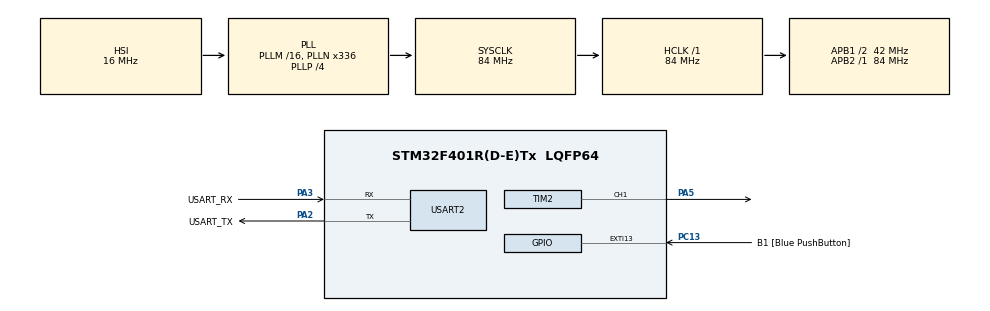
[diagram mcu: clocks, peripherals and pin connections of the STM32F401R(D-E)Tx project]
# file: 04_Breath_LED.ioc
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Mcu.Family=STM32F4
Mcu.Name=STM32F401R(D-E)Tx
Mcu.Package=LQFP64
NVIC.EXTI15_10_IRQn=true\:0\:0\:false\:false\:true\:true\:true\:true
NVIC.PriorityGroup=NVIC_PRIORITYGROUP_4
NVIC.USART2_IRQn=true\:0\:0\:false\:false\:true\:true\:true\:true
PA13.GPIO_Label=TMS
PA13.Mode=Trace_Asynchronous_SW
PA13.Signal=SYS_JTMS-SWDIO
PA14.GPIO_Label=TCK
PA14.Mode=Trace_Asynchronous_SW
PA14.Signal=SYS_JTCK-SWCLK
PA2.GPIO_Label=USART_TX
PA2.GPIO_Mode=GPIO_MODE_AF_PP
PA2.GPIO_PuPd=GPIO_NOPULL
PA2.GPIO_Speed=GPIO_SPEED_FREQ_LOW
PA2.Mode=Asynchronous
PA2.Signal=USART2_TX
PA3.GPIO_Label=USART_RX
PA3.GPIO_Mode=GPIO_MODE_AF_PP
PA3.GPIO_PuPd=GPIO_NOPULL
PA3.GPIO_Speed=GPIO_SPEED_FREQ_LOW
PA3.Mode=Asynchronous
PA3.Signal=USART2_RX
PA5.Signal=S_TIM2_CH1_ETR
PB3.GPIO_Label=SWO
PB3.Mode=Trace_Asynchronous_SW
PB3.Signal=SYS_JTDO-SWO
PC13-ANTI_TAMP.GPIO_Label=B1 [Blue PushButton]
PC13-ANTI_TAMP.GPIO_ModeDefaultEXTI=GPIO_MODE_IT_RISING_FALLING
PC13-ANTI_TAMP.GPIO_PuPd=GPIO_NOPULL
PC13-ANTI_TAMP.Signal=GPXTI13
PC14-OSC32_IN.Mode=LSE-External-Oscillator
PC14-OSC32_IN.Signal=RCC_OSC32_IN
PC15-OSC32_OUT.Mode=LSE-External-Oscillator
PC15-OSC32_OUT.Signal=RCC_OSC32_OUT
PH0\ -\ OSC_IN.Mode=HSE-External-Clock-Source
PH0\ -\ OSC_IN.Signal=RCC_OSC_IN
PH1\ -\ OSC_OUT.Mode=HSE-External-Clock-Source
PH1\ -\ OSC_OUT.Signal=RCC_OSC_OUT
ProjectManager.HeapSize=0x200
ProjectManager.StackSize=0x400
ProjectManager.TargetToolchain=STM32CubeIDE
RCC.48MHZClocksFreq_Value=48000000
RCC.AHBFreq_Value=84000000
RCC.APB1CLKDivider=RCC_HCLK_DIV2
RCC.APB1Freq_Value=42000000
RCC.APB1TimFreq_Value=84000000
RCC.APB2Freq_Value=84000000
RCC.APB2TimFreq_Value=84000000
RCC.CortexFreq_Value=84000000
RCC.HCLKFreq_Value=84000000
RCC.HSE_VALUE=8000000
RCC.HSI_VALUE=16000000
RCC.PLLN=336
RCC.PLLP=RCC_PLLP_DIV4
RCC.PLLQ=7
RCC.SYSCLKFreq_VALUE=84000000
RCC.SYSCLKSource=RCC_SYSCLKSOURCE_PLLCLK
RCC.VCOOutputFreq_Value=336000000
SH.S_TIM2_CH1_ETR.0=TIM2_CH1,PWM Generation1 CH1
TIM2.Channel-PWM\ Generation1\ CH1=TIM_CHANNEL_1
TIM2.Period=999
TIM2.Prescaler=83
USART2.Parity=PARITY_NONE
USART2.VirtualMode=VM_ASYNC
USART2.WordLength=WORDLENGTH_8B
board=NUCLEO-F401RE

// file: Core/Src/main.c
/* USER CODE BEGIN Header */
/**
  ******************************************************************************
  * @file           : main.c
  * @brief          : Main program body
  ******************************************************************************
  * @attention
  *
  * Copyright (c) 2026 STMicroelectronics.
  * All rights reserved.
  *
  * This software is licensed under terms that can be found in the LICENSE file
  * in the root directory of this software component.
  * If no LICENSE file comes with this software, it is provided AS-IS.
  *
  ******************************************************************************
  */
/* USER CODE END Header */
#include "main.h"
#include "stdio.h"

/* USER CODE BEGIN PTD */
typedef struct{
	uint32_t period;			// brightness from 0 to max will take 'period' ms
	uint16_t cur_brightness;	// current brightness, range from 0 to 1000
	uint8_t is_enabled;			// 1 for breathing, 0 for stop breathing
} Breath_LED_t;		// t for type
/* USER CODE END PTD */

/* USER CODE BEGIN PD */
#define LOOP_TIME_MS 10
/* USER CODE END PD */

TIM_HandleTypeDef htim2;

UART_HandleTypeDef huart2;

/* USER CODE BEGIN PV */
volatile Breath_LED_t LED2 = {
	.period = 2000,
	.cur_brightness = 500,
	.is_enabled = 1
};

uint8_t rx_data;	// store rx received data
/* USER CODE END PV */

void SystemClock_Config(void);
static void MX_GPIO_Init(void);
static void MX_USART2_UART_Init(void);
static void MX_TIM2_Init(void);
/* USER CODE BEGIN PFP */
void Update_LED_Brightness(Breath_LED_t *config);
/* USER CODE END PFP */

int main(void)
{

  /* MCU Configuration--------------------------------------------------------*/

  /* Reset of all peripherals, Initializes the Flash interface and the Systick. */
  HAL_Init();

  /* Configure the system clock */
  SystemClock_Config();

  /* Initialize all configured peripherals */
  MX_GPIO_Init();
  MX_USART2_UART_Init();
  MX_TIM2_Init();
  /* USER CODE BEGIN 2 */
  HAL_TIM_PWM_Start(&htim2, TIM_CHANNEL_1);

  static uint8_t direction = 0; // 0 for brighter, 1 for darker

  HAL_UART_Receive_IT(&huart2, &rx_data, 1);
  /* USER CODE END 2 */

  /* Infinite loop */
  while (1)
  {

    /* USER CODE BEGIN 3 */

	  if(LED2.is_enabled)
	  {
		  uint16_t step = 2000 * LOOP_TIME_MS / LED2.period;	// (max brightness / (LED2.period / 2(up to down and down to up) / loop time))
		  if (step == 0) step = 1;	// prevent period too big

		  if(direction == 0)
			  LED2.cur_brightness += step;
		  else
			  LED2.cur_brightness -= step;

		  if(LED2.cur_brightness >= 1000)
		  {
			  LED2.cur_brightness = 1000;
			  direction = 1;
		  }
		  else if (LED2.cur_brightness <= 0)
		  {
			  LED2.cur_brightness = 0;
			  direction = 0;
		  }

		  HAL_Delay(LOOP_TIME_MS);	//ms
		  Update_LED_Brightness(&LED2);

		  char msg_buf[64];
		  // sprintf can transfer my digits to string format, and it'll return how many bytes it cost.
		  //Plus, sprintf will add a \0 at the end, it will occupied a byte in msg_buf, but it won't be counted to the length that sprintf return.
		  int len = sprintf(msg_buf, "Duty Cycle: %d%%\r\n", LED2.cur_brightness);
		  HAL_UART_Transmit(&huart2, (uint8_t*)msg_buf, len, 100);
	  }
  }
  /* USER CODE END 3 */
}

void SystemClock_Config(void)
{
  RCC_OscInitTypeDef RCC_OscInitStruct = {0};
  RCC_ClkInitTypeDef RCC_ClkInitStruct = {0};

  /** Configure the main internal regulator output voltage
  */
  __HAL_RCC_PWR_CLK_ENABLE();
  __HAL_PWR_VOLTAGESCALING_CONFIG(PWR_REGULATOR_VOLTAGE_SCALE2);

  /** Initializes the RCC Oscillators according to the specified parameters
  * in the RCC_OscInitTypeDef structure.
  */
  RCC_OscInitStruct.OscillatorType = RCC_OSCILLATORTYPE_HSI;
  RCC_OscInitStruct.HSIState = RCC_HSI_ON;
  RCC_OscInitStruct.HSICalibrationValue = RCC_HSICALIBRATION_DEFAULT;
  RCC_OscInitStruct.PLL.PLLState = RCC_PLL_ON;
  RCC_OscInitStruct.PLL.PLLSource = RCC_PLLSOURCE_HSI;
  RCC_OscInitStruct.PLL.PLLM = 16;
  RCC_OscInitStruct.PLL.PLLN = 336;
  RCC_OscInitStruct.PLL.PLLP = RCC_PLLP_DIV4;
  RCC_OscInitStruct.PLL.PLLQ = 7;
  if (HAL_RCC_OscConfig(&RCC_OscInitStruct) != HAL_OK)
  {
    Error_Handler();
  }

  /** Initializes the CPU, AHB and APB buses clocks
  */
  RCC_ClkInitStruct.ClockType = RCC_CLOCKTYPE_HCLK|RCC_CLOCKTYPE_SYSCLK
                              |RCC_CLOCKTYPE_PCLK1|RCC_CLOCKTYPE_PCLK2;
  RCC_ClkInitStruct.SYSCLKSource = RCC_SYSCLKSOURCE_PLLCLK;
  RCC_ClkInitStruct.AHBCLKDivider = RCC_SYSCLK_DIV1;
  RCC_ClkInitStruct.APB1CLKDivider = RCC_HCLK_DIV2;
  RCC_ClkInitStruct.APB2CLKDivider = RCC_HCLK_DIV1;

  if (HAL_RCC_ClockConfig(&RCC_ClkInitStruct, FLASH_LATENCY_2) != HAL_OK)
  {
    Error_Handler();
  }
}

static void MX_TIM2_Init(void)
{

  TIM_MasterConfigTypeDef sMasterConfig = {0};
  TIM_OC_InitTypeDef sConfigOC = {0};

  htim2.Instance = TIM2;
  htim2.Init.Prescaler = 83;
  htim2.Init.CounterMode = TIM_COUNTERMODE_UP;
  htim2.Init.Period = 999;
  htim2.Init.ClockDivision = TIM_CLOCKDIVISION_DIV1;
  htim2.Init.AutoReloadPreload = TIM_AUTORELOAD_PRELOAD_DISABLE;
  if (HAL_TIM_PWM_Init(&htim2) != HAL_OK)
  {
    Error_Handler();
  }
  sMasterConfig.MasterOutputTrigger = TIM_TRGO_RESET;
  sMasterConfig.MasterSlaveMode = TIM_MASTERSLAVEMODE_DISABLE;
  if (HAL_TIMEx_MasterConfigSynchronization(&htim2, &sMasterConfig) != HAL_OK)
  {
    Error_Handler();
  }
  sConfigOC.OCMode = TIM_OCMODE_PWM1;
  sConfigOC.Pulse = 0;
  sConfigOC.OCPolarity = TIM_OCPOLARITY_HIGH;
  sConfigOC.OCFastMode = TIM_OCFAST_DISABLE;
  if (HAL_TIM_PWM_ConfigChannel(&htim2, &sConfigOC, TIM_CHANNEL_1) != HAL_OK)
  {
    Error_Handler();
  }
  HAL_TIM_MspPostInit(&htim2);

}

static void MX_USART2_UART_Init(void)
{

  huart2.Instance = USART2;
  huart2.Init.BaudRate = 115200;
  huart2.Init.WordLength = UART_WORDLENGTH_8B;
  huart2.Init.StopBits = UART_STOPBITS_1;
  huart2.Init.Parity = UART_PARITY_NONE;
  huart2.Init.Mode = UART_MODE_TX_RX;
  huart2.Init.HwFlowCtl = UART_HWCONTROL_NONE;
  huart2.Init.OverSampling = UART_OVERSAMPLING_16;
  if (HAL_UART_Init(&huart2) != HAL_OK)
  {
    Error_Handler();
  }

}

static void MX_GPIO_Init(void)
{
  GPIO_InitTypeDef GPIO_InitStruct = {0};

  /* GPIO Ports Clock Enable */
  __HAL_RCC_GPIOC_CLK_ENABLE();
  __HAL_RCC_GPIOH_CLK_ENABLE();
  __HAL_RCC_GPIOA_CLK_ENABLE();
  __HAL_RCC_GPIOB_CLK_ENABLE();

  /*Configure GPIO pin : B1_Pin */
  GPIO_InitStruct.Pin = B1_Pin;
  GPIO_InitStruct.Mode = GPIO_MODE_IT_RISING_FALLING;
  GPIO_InitStruct.Pull = GPIO_NOPULL;
  HAL_GPIO_Init(B1_GPIO_Port, &GPIO_InitStruct);

  /* EXTI interrupt init*/
  HAL_NVIC_SetPriority(EXTI15_10_IRQn, 0, 0);
  HAL_NVIC_EnableIRQ(EXTI15_10_IRQn);

}

/* USER CODE BEGIN 4 */
/**
 * @brief 更新 LED 的 PWM 佔空比
 * @param config 指向呼吸燈配置結構體的指標
 */
void Update_LED_Brightness(Breath_LED_t *config) {
    if (config == NULL) return;

    if (config->is_enabled) {
        // 使用 HAL 庫函式修改 Timer 的比較暫存器 (CCR)
        // 這裡暫時用我們結構體裡的數值
        __HAL_TIM_SET_COMPARE(&htim2, TIM_CHANNEL_1, config->cur_brightness);
    }
}

void HAL_GPIO_EXTI_Callback(uint16_t GPIO_Pin)
{
	if(GPIO_Pin == GPIO_PIN_13)
	{
		if(HAL_GPIO_ReadPin(GPIOC, GPIO_PIN_13) == GPIO_PIN_RESET)
			LED2.is_enabled = 0;
		else
			LED2.is_enabled = 1;
	}

}

void HAL_UART_RxCpltCallback(UART_HandleTypeDef *huart)
{
	if(huart->Instance == USART2)
	{
		if(rx_data == 's') // stop LED breathing
		{
			LED2.is_enabled = 0;

			char stop_msg[50];
			int len = sprintf(stop_msg, "\r\n>>> LED STOP <<<\r\n");
			HAL_UART_Transmit(&huart2, (uint8_t*)stop_msg, len, 100);
		}
		else if(rx_data == 'r')	// resume LED breathing
		{
			LED2.is_enabled = 1;
			char start_msg[50];
			int len = sprintf(start_msg, "\r\n>>> LED START <<<\r\n");
			HAL_UART_Transmit(&huart2, (uint8_t*)start_msg, len, 100);
		}
	}
	HAL_UART_Receive_IT(&huart2, &rx_data, 1);
}
/* USER CODE END 4 */

void Error_Handler(void)
{
  __disable_irq();
  while (1)
  {
  }
}
